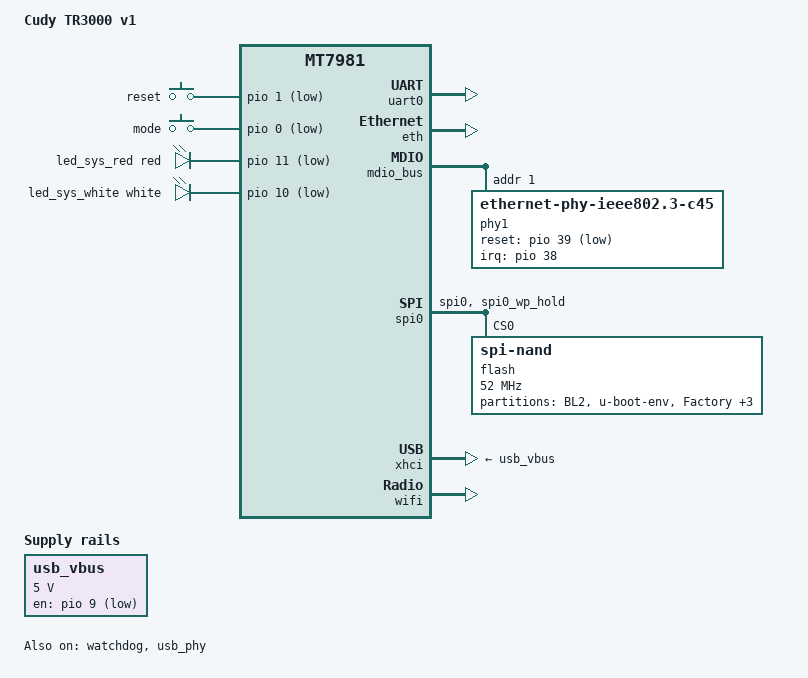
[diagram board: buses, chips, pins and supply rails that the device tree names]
// SPDX-License-Identifier: (GPL-2.0 OR MIT)

/dts-v1/;

#include <dt-bindings/gpio/gpio.h>
#include <dt-bindings/input/input.h>
#include <dt-bindings/leds/common.h>

#include "mt7981.dtsi"

/ {
	model = "Cudy TR3000 v1";
	compatible = "cudy,tr3000-v1", "mediatek,mt7981";

	aliases {
		label-mac-device = &gmac1;
		led-boot = &led_sys_red;
		led-failsafe = &led_sys_red;
		led-running = &led_sys_white;
		led-upgrade = &led_sys_white;
		serial0 = &uart0;
	};

	chosen {
		stdout-path = "serial0:115200n8";
	};

	gpio-keys {
		compatible = "gpio-keys";

		reset {
			label = "reset";
			linux,code = <KEY_RESTART>;
			gpios = <&pio 1 GPIO_ACTIVE_LOW>;
		};

		mode {
			label = "mode";
			linux,code = <BTN_0>;
			linux,input-type = <EV_SW>;
			gpios = <&pio 0 GPIO_ACTIVE_LOW>;
			debounce-interval = <60>;
		};
	};

	leds {
		compatible = "gpio-leds";

		led_sys_red: led-0 {
			function = LED_FUNCTION_POWER;
			color = <LED_COLOR_ID_RED>;
			gpios = <&pio 11 GPIO_ACTIVE_LOW>;
		};

		led_sys_white: led-1 {
			function = LED_FUNCTION_STATUS;
			color = <LED_COLOR_ID_WHITE>;
			gpios = <&pio 10 GPIO_ACTIVE_LOW>;
		};
	};

	usb_vbus: regulator-usb {
		compatible = "regulator-fixed";
		regulator-name = "usb-vbus";
		regulator-min-microvolt = <5000000>;
		regulator-max-microvolt = <5000000>;
		gpios = <&pio 9 GPIO_ACTIVE_LOW>;
		regulator-boot-on;
	};
};

&uart0 {
	status = "okay";
};

&watchdog {
	status = "okay";
};

&eth {
	pinctrl-names = "default";
	pinctrl-0 = <&mdio_pins>;
	status = "okay";

	gmac0: mac@0 {
		compatible = "mediatek,eth-mac";
		reg = <0>;
		phy-mode = "2500base-x";
		phy-handle = <&phy1>;
		nvmem-cell-names = "mac-address";
		nvmem-cells = <&macaddr_bdinfo_de00 1>;
	};

	gmac1: mac@1 {
		compatible = "mediatek,eth-mac";
		reg = <1>;
		phy-mode = "gmii";
		phy-handle = <&int_gbe_phy>;
		nvmem-cell-names = "mac-address";
		nvmem-cells = <&macaddr_bdinfo_de00 0>;
	};
};

&mdio_bus {
	phy1: phy@1 {
		compatible = "ethernet-phy-ieee802.3-c45";
		reg = <1>;
		reset-assert-us = <100000>;
		reset-deassert-us = <100000>;
		reset-gpios = <&pio 39 GPIO_ACTIVE_LOW>;
		interrupts = <38 IRQ_TYPE_LEVEL_LOW>;
		interrupt-parent = <&pio>;
		realtek,aldps-enable;
	};
};

&spi0 {
	pinctrl-names = "default";
	pinctrl-0 = <&spi0_flash_pins>;
	status = "okay";

	flash@0 {
		compatible = "spi-nand";
		#address-cells = <1>;
		#size-cells = <1>;
		reg = <0>;
		spi-max-frequency = <52000000>;

		spi-cal-enable;
		spi-cal-mode = "read-data";
		spi-cal-datalen = <7>;
		spi-cal-data = /bits/ 8 <0x53 0x50 0x49 0x4E 0x41 0x4E 0x44>;
		spi-cal-addrlen = <5>;
		spi-cal-addr = /bits/ 32 <0x0 0x0 0x0 0x0 0x0>;

		spi-tx-bus-width = <4>;
		spi-rx-bus-width = <4>;
		mediatek,nmbm;
		mediatek,bmt-max-ratio = <1>;
		mediatek,bmt-max-reserved-blocks = <64>;

		partitions {
			compatible = "fixed-partitions";
			#address-cells = <1>;
			#size-cells = <1>;

			partition@0 {
				label = "BL2";
				reg = <0x00000 0x0100000>;
				read-only;
			};

			partition@100000 {
				label = "u-boot-env";
				reg = <0x0100000 0x0080000>;
				read-only;
			};

			factory: partition@180000 {
				label = "Factory";
				reg = <0x180000 0x0200000>;
				read-only;

				nvmem-layout {
					compatible = "fixed-layout";
					#address-cells = <1>;
					#size-cells = <1>;

					eeprom_factory_0: eeprom@0 {
						reg = <0x0 0x1000>;
					};
				};
			};

			partition@380000 {
				label = "bdinfo";
				reg = <0x380000 0x0040000>;
				read-only;

				nvmem-layout {
					compatible = "fixed-layout";
					#address-cells = <1>;
					#size-cells = <1>;

					macaddr_bdinfo_de00: macaddr@de00 {
						compatible = "mac-base";
						reg = <0xde00 0x6>;
						#nvmem-cell-cells = <1>;
					};
				};
			};

			partition@3c0000 {
				label = "FIP";
				reg = <0x3c0000 0x0200000>;
				read-only;
			};

			partition@5c0000 {
				label = "ubi";
				reg = <0x5c0000 0x4000000>;
				compatible = "linux,ubi";
			};
		};
	};
};

&pio {
	spi0_flash_pins: spi0-pins {
		mux {
			function = "spi";
			groups = "spi0", "spi0_wp_hold";
		};
	};
};

&usb_phy {
	status = "okay";
};

&xhci {
	status = "okay";
	vbus-supply = <&usb_vbus>;
};

&wifi {
	status = "okay";
	nvmem-cells = <&eeprom_factory_0>;
	nvmem-cell-names = "eeprom";
};
